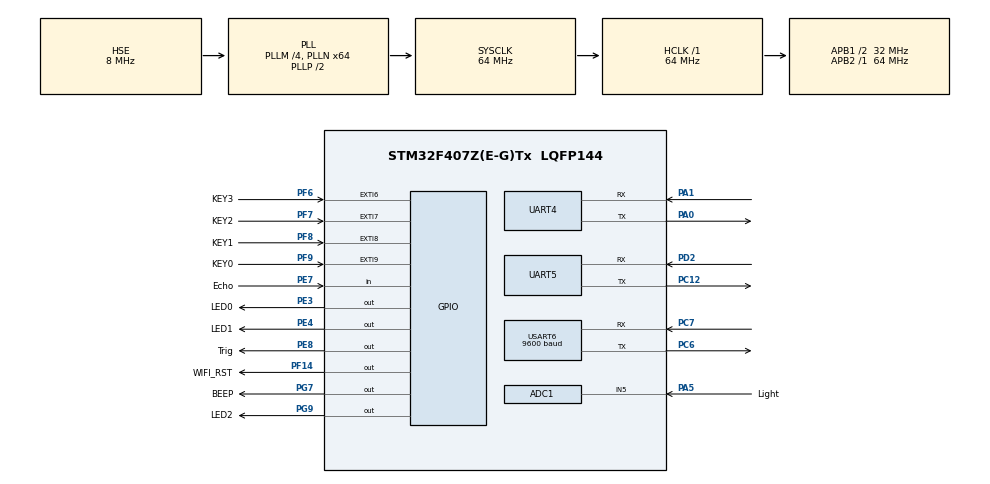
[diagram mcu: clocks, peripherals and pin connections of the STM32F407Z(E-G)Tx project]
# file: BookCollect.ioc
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ADC1.Channel-0\#ChannelRegularConversion=ADC_CHANNEL_5
ADC1.NbrOfConversionFlag=1
ADC1.Rank-0\#ChannelRegularConversion=1
ADC1.SamplingTime-0\#ChannelRegularConversion=ADC_SAMPLETIME_3CYCLES
ADC1.master=1
FREERTOS.Tasks01=MainTask,-1,256,StartMainTask,Default,NULL,Dynamic,NULL,NULL;SensorTask,0,512,StartSensorTask,Default,NULL,Dynamic,NULL,NULL
Mcu.Family=STM32F4
Mcu.Name=STM32F407Z(E-G)Tx
Mcu.Package=LQFP144
NVIC.EXTI9_5_IRQn=true\:5\:0\:false\:false\:true\:true\:true\:true
NVIC.PriorityGroup=NVIC_PRIORITYGROUP_4
NVIC.UART4_IRQn=true\:5\:0\:false\:false\:true\:true\:true\:true
NVIC.UART5_IRQn=true\:5\:0\:false\:false\:true\:true\:true\:true
NVIC.USART6_IRQn=true\:5\:0\:false\:false\:true\:true\:true\:true
PA0-WKUP.Mode=Asynchronous
PA0-WKUP.Signal=UART4_TX
PA1.Mode=Asynchronous
PA1.Signal=UART4_RX
PA5.GPIO_Label=Light
PA5.Signal=ADCx_IN5
PC12.Mode=Asynchronous
PC12.Signal=UART5_TX
PC6.Mode=Asynchronous
PC6.Signal=USART6_TX
PC7.Mode=Asynchronous
PC7.Signal=USART6_RX
PD2.Mode=Asynchronous
PD2.Signal=UART5_RX
PE3.GPIO_Label=LED0
PE3.PinState=GPIO_PIN_SET
PE3.Signal=GPIO_Output
PE4.GPIO_Label=LED1
PE4.PinState=GPIO_PIN_SET
PE4.Signal=GPIO_Output
PE7.GPIO_Label=Echo
PE7.Signal=GPIO_Input
PE8.GPIO_Label=Trig
PE8.Signal=GPIO_Output
PF14.GPIO_Label=WIFI_RST
PF14.GPIO_PuPd=GPIO_PULLUP
PF14.PinState=GPIO_PIN_SET
PF14.Signal=GPIO_Output
PF6.GPIO_Label=KEY3
PF6.GPIO_ModeDefaultEXTI=GPIO_MODE_IT_FALLING
PF6.GPIO_PuPd=GPIO_PULLUP
PF6.Signal=GPXTI6
PF7.GPIO_Label=KEY2
PF7.GPIO_ModeDefaultEXTI=GPIO_MODE_IT_FALLING
PF7.GPIO_PuPd=GPIO_PULLUP
PF7.Signal=GPXTI7
PF8.GPIO_Label=KEY1
PF8.GPIO_ModeDefaultEXTI=GPIO_MODE_IT_FALLING
PF8.GPIO_PuPd=GPIO_PULLUP
PF8.Signal=GPXTI8
PF9.GPIO_Label=KEY0
PF9.GPIO_ModeDefaultEXTI=GPIO_MODE_IT_FALLING
PF9.GPIO_PuPd=GPIO_PULLUP
PF9.Signal=GPXTI9
PG7.GPIO_Label=BEEP
PG7.Signal=GPIO_Output
PG9.GPIO_Label=LED2
PG9.PinState=GPIO_PIN_SET
PG9.Signal=GPIO_Output
PH0-OSC_IN.Mode=HSE-External-Oscillator
PH0-OSC_IN.Signal=RCC_OSC_IN
PH1-OSC_OUT.Mode=HSE-External-Oscillator
PH1-OSC_OUT.Signal=RCC_OSC_OUT
ProjectManager.HeapSize=0x200
ProjectManager.StackSize=0x400
ProjectManager.TargetToolchain=MDK-ARM V5.27
RCC.48MHZClocksFreq_Value=32000000
RCC.AHBFreq_Value=64000000
RCC.APB1CLKDivider=RCC_HCLK_DIV2
RCC.APB1Freq_Value=32000000
RCC.APB1TimFreq_Value=64000000
RCC.APB2Freq_Value=64000000
RCC.APB2TimFreq_Value=64000000
RCC.CortexFreq_Value=64000000
RCC.HCLKFreq_Value=64000000
RCC.HSE_VALUE=8000000
RCC.HSI_VALUE=16000000
RCC.LSE_VALUE=32768
RCC.PLLM=4
RCC.PLLN=64
RCC.PLLSourceVirtual=RCC_PLLSOURCE_HSE
RCC.SYSCLKFreq_VALUE=64000000
RCC.SYSCLKSource=RCC_SYSCLKSOURCE_PLLCLK
RCC.VCOOutputFreq_Value=128000000
SH.ADCx_IN5.0=ADC1_IN5,IN5
TIM6.Prescaler=63
UART4.VirtualMode=Asynchronous
UART5.VirtualMode=Asynchronous
USART6.BaudRate=9600
USART6.VirtualMode=VM_ASYNC
VP_FREERTOS_VS_CMSIS_V1.Mode=CMSIS_V1
VP_TIM6_VS_ClockSourceINT.Mode=Enable_Timer
board=custom

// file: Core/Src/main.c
/* USER CODE BEGIN Header */
/**
  ******************************************************************************
  * @file           : main.c
  * @brief          : Main program body
  ******************************************************************************
  * @attention
  *
  * <h2><center>&copy; Copyright (c) 2022 STMicroelectronics.
  * All rights reserved.</center></h2>
  *
  * This software component is licensed by ST under Ultimate Liberty license
  * SLA0044, the "License"; You may not use this file except in compliance with
  * the License. You may obtain a copy of the License at:
  *                             www.st.com/SLA0044
  *
  ******************************************************************************
  */
/* USER CODE END Header */
#include "main.h"
#include "cmsis_os.h"
#include "adc.h"
#include "tim.h"
#include "usart.h"
#include "gpio.h"

void SystemClock_Config(void);
void MX_FREERTOS_Init(void);

int main(void)
{

  /* MCU Configuration--------------------------------------------------------*/

  /* Reset of all peripherals, Initializes the Flash interface and the Systick. */
  HAL_Init();

  /* Configure the system clock */
  SystemClock_Config();

  /* Initialize all configured peripherals */
  MX_GPIO_Init();
  MX_UART4_Init();
  MX_UART5_Init();
  MX_USART6_UART_Init();
  MX_ADC1_Init();
  MX_TIM6_Init();
  /* USER CODE BEGIN 2 */
  cc2530_config();
 // ESP8266_Station_Config();
  /* USER CODE END 2 */

  /* Call init function for freertos objects (in freertos.c) */
  MX_FREERTOS_Init();
  /* Start scheduler */
  osKernelStart();

  /* We should never get here as control is now taken by the scheduler */
  /* Infinite loop */
  while (1)
  {

  }
}

void SystemClock_Config(void)
{
  RCC_OscInitTypeDef RCC_OscInitStruct = {0};
  RCC_ClkInitTypeDef RCC_ClkInitStruct = {0};

  /** Configure the main internal regulator output voltage
  */
  __HAL_RCC_PWR_CLK_ENABLE();
  __HAL_PWR_VOLTAGESCALING_CONFIG(PWR_REGULATOR_VOLTAGE_SCALE1);
  /** Initializes the RCC Oscillators according to the specified parameters
  * in the RCC_OscInitTypeDef structure.
  */
  RCC_OscInitStruct.OscillatorType = RCC_OSCILLATORTYPE_HSE;
  RCC_OscInitStruct.HSEState = RCC_HSE_ON;
  RCC_OscInitStruct.PLL.PLLState = RCC_PLL_ON;
  RCC_OscInitStruct.PLL.PLLSource = RCC_PLLSOURCE_HSE;
  RCC_OscInitStruct.PLL.PLLM = 4;
  RCC_OscInitStruct.PLL.PLLN = 64;
  RCC_OscInitStruct.PLL.PLLP = RCC_PLLP_DIV2;
  RCC_OscInitStruct.PLL.PLLQ = 4;
  if (HAL_RCC_OscConfig(&RCC_OscInitStruct) != HAL_OK)
  {
    Error_Handler();
  }
  /** Initializes the CPU, AHB and APB buses clocks
  */
  RCC_ClkInitStruct.ClockType = RCC_CLOCKTYPE_HCLK|RCC_CLOCKTYPE_SYSCLK
                              |RCC_CLOCKTYPE_PCLK1|RCC_CLOCKTYPE_PCLK2;
  RCC_ClkInitStruct.SYSCLKSource = RCC_SYSCLKSOURCE_PLLCLK;
  RCC_ClkInitStruct.AHBCLKDivider = RCC_SYSCLK_DIV1;
  RCC_ClkInitStruct.APB1CLKDivider = RCC_HCLK_DIV2;
  RCC_ClkInitStruct.APB2CLKDivider = RCC_HCLK_DIV1;

  if (HAL_RCC_ClockConfig(&RCC_ClkInitStruct, FLASH_LATENCY_2) != HAL_OK)
  {
    Error_Handler();
  }
}

void Error_Handler(void)
{
  __disable_irq();
  while (1)
  {
  }
}

/************************ (C) COPYRIGHT STMicroelectronics *****END OF FILE****/

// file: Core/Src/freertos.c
/* USER CODE BEGIN Header */
/**
  ******************************************************************************
  * File Name          : freertos.c
  * Description        : Code for freertos applications
  ******************************************************************************
  * @attention
  *
  * <h2><center>&copy; Copyright (c) 2022 STMicroelectronics.
  * All rights reserved.</center></h2>
  *
  * This software component is licensed by ST under Ultimate Liberty license
  * SLA0044, the "License"; You may not use this file except in compliance with
  * the License. You may obtain a copy of the License at:
  *                             www.st.com/SLA0044
  *
  ******************************************************************************
  */
/* USER CODE END Header */

#include "FreeRTOS.h"
#include "task.h"
#include "main.h"
#include "cmsis_os.h"

/* USER CODE BEGIN Includes */
#include "ESP8266.h"
#include "hr04.h"
#include "cc2530.h"
#include "light.h"
#include "key.h"
#include "dht11.h"
#include "usart.h"

extern int key_value;
extern char rxBuff[];
extern uint8_t wifi_rxbuf[200];

char DHT11_buffer[128];
char blue_sendmsg[64];
char sendmsg1[64];
char cc2530_receivemsg[64];
double distance=0;

DHT11_Data_TypeDef DHT11_Data;

/* USER CODE END Includes */

osThreadId MainTaskHandle;
osThreadId SensorTaskHandle;

void StartMainTask(void const * argument);
void StartSensorTask(void const * argument);

void MX_FREERTOS_Init(void); /* (MISRA C 2004 rule 8.1) */

/* GetIdleTaskMemory prototype (linked to static allocation support) */
void vApplicationGetIdleTaskMemory( StaticTask_t **ppxIdleTaskTCBBuffer, StackType_t **ppxIdleTaskStackBuffer, uint32_t *pulIdleTaskStackSize );

/* USER CODE BEGIN GET_IDLE_TASK_MEMORY */
static StaticTask_t xIdleTaskTCBBuffer;
static StackType_t xIdleStack[configMINIMAL_STACK_SIZE];

void vApplicationGetIdleTaskMemory( StaticTask_t **ppxIdleTaskTCBBuffer, StackType_t **ppxIdleTaskStackBuffer, uint32_t *pulIdleTaskStackSize )
{
  *ppxIdleTaskTCBBuffer = &xIdleTaskTCBBuffer;
  *ppxIdleTaskStackBuffer = &xIdleStack[0];
  *pulIdleTaskStackSize = configMINIMAL_STACK_SIZE;
  /* place for user code */
}
/* USER CODE END GET_IDLE_TASK_MEMORY */

void MX_FREERTOS_Init(void) {

  /* Create the thread(s) */
  /* definition and creation of MainTask */
  osThreadDef(MainTask, StartMainTask, osPriorityBelowNormal, 0, 256);
  MainTaskHandle = osThreadCreate(osThread(MainTask), NULL);

  /* definition and creation of SensorTask */
  osThreadDef(SensorTask, StartSensorTask, osPriorityNormal, 0, 512);
  SensorTaskHandle = osThreadCreate(osThread(SensorTask), NULL);

}

void StartMainTask(void const * argument)
{
  /* USER CODE BEGIN StartMainTask */

  /* Infinite loop */
  for(;;)
  {
     osDelay(1799);
	  switch(key_value)
	  {
		  case 0:
		  {
			  osThreadResume(SensorTaskHandle);
			  LED0_ON();
			  key_value=-1;
			  break;
		  }
		  case 1:
		  {
			  osThreadSuspend(SensorTaskHandle);
			  LED0_OFF();
			  key_value=-1;
			  break;
		  }
	  }
	  printf("wifi接收到的数据为：%s\r\n",wifi_rxbuf);

	  if(strcmp("OLED",(char *)wifi_rxbuf)==0)
	  {
		  LED2_ON();
		  cc2530_sendMessage("OL");
	  }else if(strcmp("CLED",(char *)wifi_rxbuf)==0)
	  {
		  LED2_OFF();
		  cc2530_sendMessage("CL");

	  }else if(strcmp("OBEEP",(char *)wifi_rxbuf)==0)
	  {
		  BEEP_ON();
		  cc2530_sendMessage("OB");
	  }else if(strcmp("CBEEP",(char *)wifi_rxbuf)==0)
	  {
		  BEEP_OFF();
		  cc2530_sendMessage("CB");
	  }

	  get_cc2530Message(cc2530_receivemsg);
	  if(strlen(cc2530_receivemsg)!=2)
	  {
		  Wifi_SendData(cc2530_receivemsg);
		  printf("我发送的数据为：%s",cc2530_receivemsg);
	  }else{
			if(strcmp("OL",(char *)cc2530_receivemsg)==0)
			{
			  LED2_ON();
			}else if(strcmp("CL",(char *)cc2530_receivemsg)==0)
			{
			  LED2_OFF();
			}else if(strcmp("OB",(char *)cc2530_receivemsg)==0)
			{
			  BEEP_ON();
			}else if(strcmp("CB",(char *)cc2530_receivemsg)==0)
			{
			  BEEP_OFF();
			}
			memset(cc2530_receivemsg,0,200);
	  }
	 // memset(cc2530_receivemsg,0,200);

  }
  /* USER CODE END StartMainTask */
}

void StartSensorTask(void const * argument)
{
  /* USER CODE BEGIN StartSensorTask */
	osThreadSuspend(SensorTaskHandle);
  /* Infinite loop */
  for(;;)
  {
	DHT11_Read_TempAndHumidity(&DHT11_Data);
	osDelay(1000);
	distance=Hcsr04_StateRead();
	osDelay(1000);
	sprintf(sendmsg1,"##,%.2f,%d,%.1f,%.1f,$$",distance,get_light(),DHT11_Data.humidity,DHT11_Data.temperature);
	cc2530_sendMessage(sendmsg1);
	printf("cc2530 is %s",sendmsg1);

  }
  /* USER CODE END StartSensorTask */
}

/************************ (C) COPYRIGHT STMicroelectronics *****END OF FILE****/
